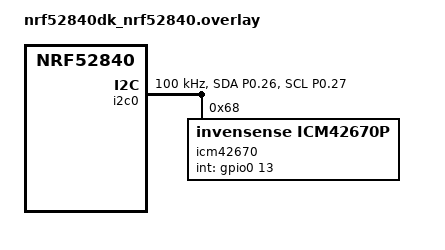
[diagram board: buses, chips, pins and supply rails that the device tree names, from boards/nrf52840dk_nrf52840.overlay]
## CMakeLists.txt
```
#
# Copyright (c) 2024 Nordic Semiconductor ASA
#
# SPDX-License-Identifier: Apache-2.0
#

cmake_minimum_required(VERSION 3.20.0)

# Set BOARD to nrf52840dk_nrf52840 if not already set
set(BOARD nrf52840dk_nrf52840)

find_package(Zephyr REQUIRED HINTS $ENV{ZEPHYR_BASE})
project(icm42670_driver)

# Add include directory for header files
target_include_directories(app PRIVATE src)

target_sources(app PRIVATE
    src/main.c
)
```

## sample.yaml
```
#
# Copyright (c) 2020 TDK Invensense
#
# SPDX-License-Identifier: Apache-2.0
#

sample:
  name: ICM42670 Accelerometer Sample
  description: |
    This sample demonstrates how to use the ICM42670 sensor
    to read acceleration data.

tests:
  sample.sensor.icm42670:
    build_only: true
    platform_allow: nrf52840dk_nrf52840
    integration_platforms:
      - nrf52840dk_nrf52840
    tags: sensors
    depends_on: spi
```

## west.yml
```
manifest:
  remotes:
    - name: zephyrproject
      url-base: https://github.com/zephyrproject-rtos
    - name: tdk
      url-base: https://github.com/tdk-invn-oss

  projects:
    - name: zephyr
      remote: zephyrproject
      revision: main
      import: true
    - name: hal_tdk
      remote: tdk
      repo-path: zephyr.hal_tdk
      revision: main
      path: modules/hal/tdk

  self:
    path: app
```

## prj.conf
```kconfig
#
# Copyright (c) 2019 Nordic Semiconductor ASA
#
# SPDX-License-Identifier: Apache-2.0
#

# Enable GPIO
CONFIG_GPIO=y

# Enable I2C
CONFIG_I2C=y

# Enable sensors subsystem
CONFIG_SENSOR=y

# Enable ICM42670 sensor
CONFIG_ICM42X70=y
CONFIG_ICM42X70_TRIGGER_GLOBAL_THREAD=y

# Enable logging
CONFIG_LOG=y
CONFIG_LOG_DEFAULT_LEVEL=3
CONFIG_LOG_MODE_IMMEDIATE=y

# Enable console for output
CONFIG_CONSOLE=y
CONFIG_UART_CONSOLE=y

# Enable printf and floating point
CONFIG_PRINTK=y
CONFIG_STDOUT_CONSOLE=y
CONFIG_CBPRINTF_FP_SUPPORT=y

# Disable SPI since we're using I2C
CONFIG_SPI=n
```

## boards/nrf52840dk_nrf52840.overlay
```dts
/*
 * Copyright (c) 2024 Nordic Semiconductor ASA
 *
 * SPDX-License-Identifier: Apache-2.0
 */

/ {
	aliases {
		icm42670 = &icm42670;
	};

	chosen {
		zephyr,console = &uart0;
		zephyr,shell-uart = &uart0;
		zephyr,uart-mcumgr = &uart0;
		zephyr,bt-mon-uart = &uart0;
		zephyr,bt-c2h-uart = &uart0;
	};
};

&pinctrl {
	i2c0_default: i2c0_default {
		group1 {
			psels = <NRF_PSEL(TWIM_SDA, 0, 26)>,
				<NRF_PSEL(TWIM_SCL, 0, 27)>;
			bias-pull-up;
		};
	};

	i2c0_sleep: i2c0_sleep {
		group1 {
			psels = <NRF_PSEL(TWIM_SDA, 0, 26)>,
				<NRF_PSEL(TWIM_SCL, 0, 27)>;
			low-power-enable;
		};
	};
};

&i2c0 {
	compatible = "nordic,nrf-twim";
	status = "okay";
	pinctrl-0 = <&i2c0_default>;
	pinctrl-1 = <&i2c0_sleep>;
	pinctrl-names = "default", "sleep";
	clock-frequency = <I2C_BITRATE_STANDARD>;

	icm42670: icm42670@68 {
		compatible = "invensense,icm42670p";
		reg = <0x68>;
		int-gpios = <&gpio0 13 GPIO_ACTIVE_HIGH>;  /* Using INT2 for WoM */
		accel-hz = <50>;
		gyro-hz = <50>;
		accel-fs = <16>;
		gyro-fs = <2000>;
		apex = "wom";  /* Enable Wake-on-Motion feature */
	};
};
```

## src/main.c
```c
#include <zephyr/kernel.h>
#include <zephyr/device.h>
#include <zephyr/drivers/sensor.h>
#include <zephyr/drivers/sensor/icm42x70.h>
#include <zephyr/drivers/sensor/tdk_apex.h>
#include <zephyr/logging/log.h>
#include "imu/inv_imu_apex.h"

LOG_MODULE_REGISTER(main, CONFIG_LOG_DEFAULT_LEVEL);

/* Sensor device name */
#define SENSOR_NODE DT_NODELABEL(icm42670)

/* Thread stack size */
#define STACK_SIZE 1024
#define THREAD_PRIORITY 5

/* Thread for sensor reading */
static struct k_thread sensor_thread;
K_THREAD_STACK_DEFINE(sensor_stack, STACK_SIZE);

/* Callback function for motion trigger */
static void motion_trigger_handler(const struct device *dev,
				 const struct sensor_trigger *trig)
{
	int rc;
	struct sensor_value accel[3], gyro[3];

	/* Get accelerometer data */
	rc = sensor_sample_fetch_chan(dev, SENSOR_CHAN_ACCEL_XYZ);
	if (rc != 0) {
		LOG_ERR("Failed to fetch accelerometer data: %d", rc);
		return;
	}

	rc = sensor_channel_get(dev, SENSOR_CHAN_ACCEL_X, &accel[0]);
	rc |= sensor_channel_get(dev, SENSOR_CHAN_ACCEL_Y, &accel[1]);
	rc |= sensor_channel_get(dev, SENSOR_CHAN_ACCEL_Z, &accel[2]);
	if (rc != 0) {
		LOG_ERR("Failed to get accelerometer values: %d", rc);
		return;
	}

	/* Get gyroscope data */
	rc = sensor_sample_fetch_chan(dev, SENSOR_CHAN_GYRO_XYZ);
	if (rc != 0) {
		LOG_ERR("Failed to fetch gyroscope data: %d", rc);
		return;
	}

	rc = sensor_channel_get(dev, SENSOR_CHAN_GYRO_X, &gyro[0]);
	rc |= sensor_channel_get(dev, SENSOR_CHAN_GYRO_Y, &gyro[1]);
	rc |= sensor_channel_get(dev, SENSOR_CHAN_GYRO_Z, &gyro[2]);
	if (rc != 0) {
		LOG_ERR("Failed to get gyroscope values: %d", rc);
		return;
	}

	/* Print sensor values */
	LOG_INF("Motion detected!");
	LOG_INF("Accel (m/s^2) X: %d.%06d, Y: %d.%06d, Z: %d.%06d",
		accel[0].val1, accel[0].val2,
		accel[1].val1, accel[1].val2,
		accel[2].val1, accel[2].val2);
	LOG_INF("Gyro (dps) X: %d.%06d, Y: %d.%06d, Z: %d.%06d",
		gyro[0].val1, gyro[0].val2,
		gyro[1].val1, gyro[1].val2,
		gyro[2].val1, gyro[2].val2);
}

void main(void)
{
	const struct device *const dev = DEVICE_DT_GET(SENSOR_NODE);
	struct sensor_trigger trigger = {
		.type = SENSOR_TRIG_DATA_READY,
		.chan = SENSOR_CHAN_APEX_MOTION,
	};
	int rc;

	/* Check if device is ready */
	if (!device_is_ready(dev)) {
		LOG_ERR("%s: device not ready.", dev->name);
		return;
	}

	LOG_INF("Device %s is ready", dev->name);

	/* Configure accelerometer */
	struct sensor_value accel_config[] = {
		{
			.val1 = 16,    /* Full scale range: ±16g */
			.val2 = 0
		},
		{
			.val1 = 50,    /* Output data rate: 50Hz */
			.val2 = 0
		}
	};

	rc = sensor_attr_set(dev, SENSOR_CHAN_ACCEL_XYZ,
			    SENSOR_ATTR_FULL_SCALE,
			    &accel_config[0]);
	if (rc != 0) {
		LOG_ERR("Failed to set accelerometer full scale: %d", rc);
		return;
	}

	rc = sensor_attr_set(dev, SENSOR_CHAN_ACCEL_XYZ,
			    SENSOR_ATTR_SAMPLING_FREQUENCY,
			    &accel_config[1]);
	if (rc != 0) {
		LOG_ERR("Failed to set accelerometer sampling frequency: %d", rc);
		return;
	}

	/* Configure wake-on-motion using APEX */
	struct sensor_value wom_config = {
		.val1 = TDK_APEX_WOM,  /* Enable Wake-on-Motion */
		.val2 = 0
	};

	rc = sensor_attr_set(dev, SENSOR_CHAN_APEX_MOTION,
			    SENSOR_ATTR_CONFIGURATION,
			    &wom_config);
	if (rc != 0) {
		LOG_ERR("Failed to configure WoM: %d", rc);
		return;
	}

	/* Wait for WoM to initialize */
	k_sleep(K_MSEC(100));

	/* Configure motion trigger handler */
	rc = sensor_trigger_set(dev, &trigger, motion_trigger_handler);
	if (rc != 0) {
		LOG_ERR("Failed to set trigger: %d", rc);
		return;
	}

	LOG_INF("Wake-on-Motion trigger configured successfully");
	LOG_INF("Move the device to trigger motion detection...");

	/* Sleep forever, waiting for motion triggers */
	while (1) {
		k_sleep(K_MSEC(1000));
	}
}
```

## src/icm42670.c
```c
/**
 * @file      icm42670.c
 * @author    Taimur Islam Khan (taimurislamkhan@gmail.com)
 * 
 * @brief     Implementation of ICM42670 6-axis IMU sensor driver interface.
 *            This module provides functions for reading accelerometer and
 *            gyroscope data from the ICM42670 sensor. The sensor communicates
 *            over I2C and uses the Zephyr sensor driver framework.
 * 
 * @version   0.1
 * @date      25-01-2025
 * @copyright Copyright (c) 2025, Taimur Islam Khan
 */

#include "icm42670.h"
#include <stdio.h>
#include <zephyr/kernel.h>

#define INIT_RETRY_DELAY_MS 1000  /* Delay between retry attempts in milliseconds */
#define MAX_INIT_ATTEMPTS 10      /* Maximum number of initialization attempts */

/** Static device pointer for the ICM42670 sensor */
static const struct device *icm42670_dev;

/**
 * @brief Initialize the ICM42670 sensor driver
 * 
 * This function initializes the ICM42670 sensor driver by getting the device
 * binding and checking if the device is ready. It will keep retrying if the
 * device is not ready, with a delay between attempts.
 * 
 * @return int 0 on success, negative errno code on failure
 */
int icm42670_init(void)
{
    int attempts = 0;

    /* Get device binding using node label */
    icm42670_dev = DEVICE_DT_GET(DT_NODELABEL(imu0));

    if (icm42670_dev == NULL) {
        printk("Error: Device not found in devicetree\n");
        return -ENODEV;
    }

    while (attempts < MAX_INIT_ATTEMPTS) {
        if (device_is_ready(icm42670_dev)) {
            printk("ICM42670 initialized successfully after %d attempts\n", attempts + 1);
            return 0;
        }
        printk("Device not ready, retrying... (attempt %d/%d)\n", 
               attempts + 1, MAX_INIT_ATTEMPTS);
        k_msleep(INIT_RETRY_DELAY_MS);
        attempts++;
    }

    printk("Error: Failed to initialize ICM42670 after %d attempts\n", MAX_INIT_ATTEMPTS);
    return -ETIMEDOUT;
}

/**
 * @brief Helper function to fetch latest sensor data
 * 
 * This function fetches the latest sensor data from the ICM42670 sensor.
 * 
 * @return int 0 on success, negative errno code on failure
 */
static int fetch_sensor_data(void)
{
    int ret = sensor_sample_fetch(icm42670_dev);
    if (ret < 0) {
        printk("Error: Failed to fetch sensor data: %d\n", ret);
        return ret;
    }
    return 0;
}

/**
 * @brief Read all sensor data (acceleration and gyroscope)
 * 
 * This function reads all sensor data (acceleration and gyroscope) from the
 * ICM42670 sensor and stores it in the provided data structure.
 * 
 * @param data Pointer to the data structure to store the sensor data
 * @return int 0 on success, negative errno code on failure
 */
int icm42670_read_all(struct icm42670_data *data)
{
    int ret;
    struct sensor_value accel[3], gyro[3];

    /* Fetch sensor data */
    ret = fetch_sensor_data();
    if (ret < 0) {
        return ret;
    }

    /* Get acceleration data */
    ret = sensor_channel_get(icm42670_dev, SENSOR_CHAN_ACCEL_XYZ, accel);
    if (ret < 0) {
        printk("Error: Failed to get acceleration data: %d\n", ret);
        return ret;
    }

    /* Get gyroscope data */
    ret = sensor_channel_get(icm42670_dev, SENSOR_CHAN_GYRO_XYZ, gyro);
    if (ret < 0) {
        printk("Error: Failed to get gyroscope data: %d\n", ret);
        return ret;
    }

    /* Convert to double and store in data structure */
    data->accel_x = sensor_value_to_double(&accel[0]);
    data->accel_y = sensor_value_to_double(&accel[1]);
    data->accel_z = sensor_value_to_double(&accel[2]);
    data->gyro_x = sensor_value_to_double(&gyro[0]);
    data->gyro_y = sensor_value_to_double(&gyro[1]);
    data->gyro_z = sensor_value_to_double(&gyro[2]);

    return 0;
}

/**
 * @brief Read acceleration data from the ICM42670 sensor
 * 
 * This function reads acceleration data from the ICM42670 sensor and stores it
 * in the provided data structure.
 * 
 * @param data Pointer to the data structure to store the acceleration data
 * @return int 0 on success, negative errno code on failure
 */
int icm42670_read_accel(struct icm42670_data *data)
{
    int ret;
    struct sensor_value accel[3];

    /* Fetch sensor data */
    ret = fetch_sensor_data();
    if (ret < 0) {
        return ret;
    }

    /* Get acceleration data */
    ret = sensor_channel_get(icm42670_dev, SENSOR_CHAN_ACCEL_XYZ, accel);
    if (ret < 0) {
        printk("Error: Failed to get acceleration data: %d\n", ret);
        return ret;
    }

    /* Convert to double and store in data structure */
    data->accel_x = sensor_value_to_double(&accel[0]);
    data->accel_y = sensor_value_to_double(&accel[1]);
    data->accel_z = sensor_value_to_double(&accel[2]);

    return 0;
}

/**
 * @brief Read gyroscope data from the ICM42670 sensor
 * 
 * This function reads gyroscope data from the ICM42670 sensor and stores it in
 * the provided data structure.
 * 
 * @param data Pointer to the data structure to store the gyroscope data
 * @return int 0 on success, negative errno code on failure
 */
int icm42670_read_gyro(struct icm42670_data *data)
{
    int ret;
    struct sensor_value gyro[3];

    /* Fetch sensor data */
    ret = fetch_sensor_data();
    if (ret < 0) {
        return ret;
    }

    /* Get gyroscope data */
    ret = sensor_channel_get(icm42670_dev, SENSOR_CHAN_GYRO_XYZ, gyro);
    if (ret < 0) {
        printk("Error: Failed to get gyroscope data: %d\n", ret);
        return ret;
    }

    /* Convert to double and store in data structure */
    data->gyro_x = sensor_value_to_double(&gyro[0]);
    data->gyro_y = sensor_value_to_double(&gyro[1]);
    data->gyro_z = sensor_value_to_double(&gyro[2]);

    return 0;
}

/**
 * @brief Set the accelerometer sampling rate
 * 
 * This function sets the accelerometer sampling rate of the ICM42670 sensor.
 * 
 * @param rate The desired sampling rate
 * @return int 0 on success, negative errno code on failure
 */
int icm42670_set_accel_rate(uint16_t rate)
{
    struct sensor_value odr = {.val1 = rate, .val2 = 0};
    int ret = sensor_attr_set(icm42670_dev, SENSOR_CHAN_ACCEL_XYZ,
                            SENSOR_ATTR_SAMPLING_FREQUENCY, &odr);
    if (ret != 0) {
        printk("Error: Failed to set accelerometer sampling rate: %d\n", ret);
        return ret;
    }
    return 0;
}

/**
 * @brief Set the gyroscope sampling rate
 * 
 * This function sets the gyroscope sampling rate of the ICM42670 sensor.
 * 
 * @param rate The desired sampling rate
 * @return int 0 on success, negative errno code on failure
 */
int icm42670_set_gyro_rate(uint16_t rate)
{
    struct sensor_value odr = {.val1 = rate, .val2 = 0};
    int ret = sensor_attr_set(icm42670_dev, SENSOR_CHAN_GYRO_XYZ,
                            SENSOR_ATTR_SAMPLING_FREQUENCY, &odr);
    if (ret != 0) {
        printk("Error: Failed to set gyroscope sampling rate: %d\n", ret);
        return ret;
    }
    return 0;
}
```

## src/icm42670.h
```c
/**
 * @file      icm42670.h
 * @author    Taimur Islam Khan (taimurislamkhan@gmail.com)
 * 
 * @brief     Header file for ICM42670 6-axis IMU sensor driver interface.
 *            Provides functions and data structures for initializing and
 *            reading accelerometer and gyroscope data from the ICM42670
 *            sensor using Zephyr RTOS sensor driver framework.
 * 
 * @version   0.1
 * @date      25-01-2025
 * @copyright Copyright (c) 2025, Taimur Islam Khan
 */

#ifndef ICM42670_H
#define ICM42670_H

#include <zephyr/kernel.h>
#include <zephyr/device.h>
#include <zephyr/drivers/sensor.h>
#include <zephyr/devicetree.h>

/* Device Tree node label for ICM42670 */
/* Removed DT_DRV_COMPAT definition */

/** Structure to hold sensor data */
struct icm42670_data {
    double accel_x;    /**< Acceleration in X-axis (m/s^2) */
    double accel_y;    /**< Acceleration in Y-axis (m/s^2) */
    double accel_z;    /**< Acceleration in Z-axis (m/s^2) */
    double gyro_x;     /**< Angular velocity around X-axis (dps) */
    double gyro_y;     /**< Angular velocity around Y-axis (dps) */
    double gyro_z;     /**< Angular velocity around Z-axis (dps) */
};

/**
 * @brief Initialize the ICM42670 sensor
 * 
 * @return int 0 on success, negative errno code on failure
 */
int icm42670_init(void);

/**
 * @brief Read both accelerometer and gyroscope data
 * 
 * @param data Pointer to structure where sensor data will be stored
 * @return int 0 on success, negative errno code on failure
 */
int icm42670_read_all(struct icm42670_data *data);

/**
 * @brief Read only accelerometer data
 * 
 * @param data Pointer to structure where accelerometer data will be stored
 * @return int 0 on success, negative errno code on failure
 */
int icm42670_read_accel(struct icm42670_data *data);

/**
 * @brief Read only gyroscope data
 * 
 * @param data Pointer to structure where gyroscope data will be stored
 * @return int 0 on success, negative errno code on failure
 */
int icm42670_read_gyro(struct icm42670_data *data);

/**
 * @brief Set accelerometer sample rate
 * 
 * @param rate Sample rate in Hz (valid values: 1, 3, 6, 12, 25, 50, 100, 200, 400, 800, 1600)
 * @return int 0 on success, negative errno code on failure
 */
int icm42670_set_accel_rate(uint16_t rate);

/**
 * @brief Set gyroscope sample rate
 * 
 * @param rate Sample rate in Hz (valid values: 12, 25, 50, 100, 200, 400, 800)
 * @return int 0 on success, negative errno code on failure
 */
int icm42670_set_gyro_rate(uint16_t rate);

#endif /* ICM42670_H */
```
